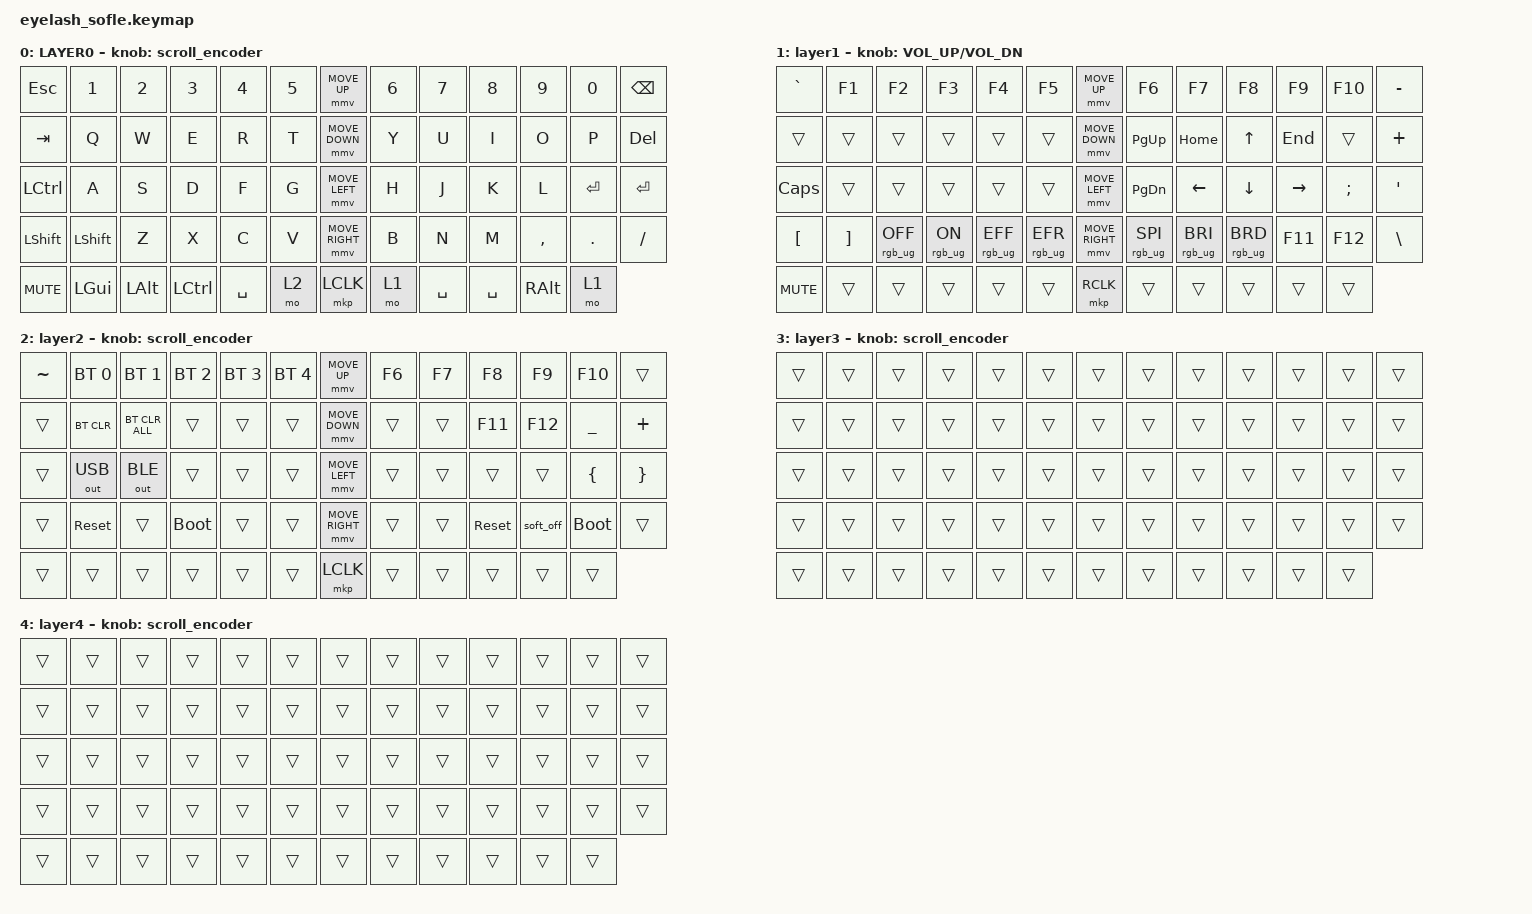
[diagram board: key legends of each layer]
#define ZMK_POINTING_DEFAULT_MOVE_VAL 1200  // 600
#define ZMK_POINTING_DEFAULT_SCRL_VAL 25   // 10

#include <input/processors.dtsi>
#include <zephyr/dt-bindings/input/input-event-codes.h>
#include <behaviors.dtsi>
#include <dt-bindings/zmk/bt.h>
#include <dt-bindings/zmk/keys.h>
#include <dt-bindings/zmk/outputs.h>
#include <dt-bindings/zmk/pointing.h>
#include <dt-bindings/zmk/rgb.h>

&mmv_input_listener { input-processors = <&zip_xy_scaler 2 1>; };

&msc_input_listener { input-processors = <&zip_scroll_scaler 2 1>; };

&msc {
    acceleration-exponent = <1>;      // 0
    time-to-max-speed-ms = <100>;       // 300
    delay-ms = <0>;                   // 0
};

&mmv {
    time-to-max-speed-ms = <500>;
    acceleration-exponent = <1>;
    trigger-period-ms = <16>;
};

&soft_off { hold-time-ms = <2000>; };

/ {
    scroll_encoder: scroll_encoder {
        compatible = "zmk,behavior-sensor-rotate";
        #sensor-binding-cells = <0>;
        bindings = <&msc SCRL_DOWN>, <&msc SCRL_UP>;

        tap-ms = <100>;
    };

    behaviors {
    };

    combos {
        compatible = "zmk,combos";

        softoff {
            bindings = <&soft_off>;
            key-positions = <14 28 40>;
        };
    };

    macros {
        SHIFT_MCLK: SHIFT_MCLK {
            compatible = "zmk,behavior-macro";
            #binding-cells = <0>;
            bindings =
                <&macro_press>,
                <&kp LEFT_SHIFT>,
                <&macro_press>,
                <&mkp MB3>,
                <&macro_pause_for_release>,
                <&macro_release>,
                <&kp LEFT_SHIFT &mkp MB3>;

            label = "SHIFT_MCLK";
        };
    };

    keymap {
        compatible = "zmk,keymap";

        layer0 {
            bindings = <
&kp ESC     &kp N1     &kp N2        &kp N3        &kp N4  &kp N5       &mmv MOVE_UP     &kp N6     &kp N7     &kp N8     &kp N9           &kp N0      &kp BACKSPACE
&kp TAB     &kp Q      &kp W         &kp E         &kp R   &kp T        &mmv MOVE_DOWN   &kp Y      &kp U      &kp I      &kp O            &kp P       &kp DELETE
&kp LCTRL   &kp A      &kp S         &kp D         &kp F   &kp G        &mmv MOVE_LEFT   &kp H      &kp J      &kp K      &kp L            &kp ENTER   &kp ENTER
&kp LSHFT   &kp LSHFT  &kp Z         &kp X         &kp C   &kp V        &mmv MOVE_RIGHT  &kp B      &kp N      &kp M      &kp COMMA        &kp DOT     &kp FSLH
&kp C_MUTE  &kp LEFT_GUI  &kp LEFT_ALT  &kp LCTRL  &kp SPACE  &mo 2     &mkp LCLK        &mo 1      &kp SPACE  &kp SPACE  &kp RALT         &mo 1
            >;

            sensor-bindings = <&scroll_encoder>;
            display-name = "LAYER0";
        };

        layer_1 {
            bindings = <
&kp GRAVE   &kp F1           &kp F2          &kp F3           &kp F4           &kp F5             &mmv MOVE_UP     &kp F6           &kp F7           &kp F8      &kp F9     &kp F10           &kp MINUS
&trans      &trans           &trans          &trans           &trans           &trans             &mmv MOVE_DOWN   &kp PG_UP        &kp HOME         &kp UP      &kp END    &trans            &kp PLUS
&kp CAPS    &trans           &trans          &trans           &trans           &trans             &mmv MOVE_LEFT   &kp PG_DN        &kp LEFT         &kp DOWN    &kp RIGHT  &kp SEMI          &kp APOS
&kp LBKT    &kp RBKT         &rgb_ug RGB_OFF  &rgb_ug RGB_ON  &rgb_ug RGB_EFF  &rgb_ug RGB_EFR  &mmv MOVE_RIGHT  &rgb_ug RGB_SPI  &rgb_ug RGB_BRI  &rgb_ug RGB_BRD  &kp F11  &kp F12   &kp BSLH
&kp C_MUTE  &trans           &trans          &trans           &trans           &trans             &mkp RCLK        &trans           &trans           &trans      &trans     &trans
            >;

            display-name = "layer1";
            sensor-bindings = <&inc_dec_kp C_VOLUME_UP C_VOL_DN>;
        };

        layer_2 {
            bindings = <
&kp TILDE  &bt BT_SEL 0  &bt BT_SEL 1    &bt BT_SEL 2  &bt BT_SEL 3  &bt BT_SEL 4    &mmv MOVE_UP     &kp F6  &kp F7  &kp F8      &kp F9     &kp F10      &trans
&trans     &bt BT_CLR    &bt BT_CLR_ALL  &trans        &trans        &trans          &mmv MOVE_DOWN   &trans  &trans  &kp F11     &kp F12    &kp UNDER    &kp PLUS
&trans     &out OUT_USB  &out OUT_BLE    &trans        &trans        &trans          &mmv MOVE_LEFT   &trans  &trans  &trans      &trans     &kp LBRC     &kp RBRC
&trans     &sys_reset    &trans          &bootloader   &trans        &trans          &mmv MOVE_RIGHT  &trans  &trans  &sys_reset  &soft_off  &bootloader  &trans
&trans     &trans        &trans          &trans        &trans        &trans          &mkp LCLK        &trans  &trans  &trans      &trans     &trans
            >;

            display-name = "layer2";
            sensor-bindings = <&scroll_encoder>;
        };

        layer_3 {
            bindings = <
&trans  &trans  &trans  &trans  &trans  &trans    &trans  &trans  &trans  &trans  &trans  &trans  &trans
&trans  &trans  &trans  &trans  &trans  &trans    &trans  &trans  &trans  &trans  &trans  &trans  &trans
&trans  &trans  &trans  &trans  &trans  &trans    &trans  &trans  &trans  &trans  &trans  &trans  &trans
&trans  &trans  &trans  &trans  &trans  &trans    &trans  &trans  &trans  &trans  &trans  &trans  &trans
&trans  &trans  &trans  &trans  &trans  &trans    &trans  &trans  &trans  &trans  &trans  &trans
            >;

            display-name = "layer3";
            sensor-bindings = <&scroll_encoder>;
        };

        layer_4 {
            bindings = <
&trans  &trans  &trans  &trans  &trans  &trans    &trans  &trans  &trans  &trans  &trans  &trans  &trans
&trans  &trans  &trans  &trans  &trans  &trans    &trans  &trans  &trans  &trans  &trans  &trans  &trans
&trans  &trans  &trans  &trans  &trans  &trans    &trans  &trans  &trans  &trans  &trans  &trans  &trans
&trans  &trans  &trans  &trans  &trans  &trans    &trans  &trans  &trans  &trans  &trans  &trans  &trans
&trans  &trans  &trans  &trans  &trans  &trans    &trans  &trans  &trans  &trans  &trans  &trans
            >;

            display-name = "layer4";
            sensor-bindings = <&scroll_encoder>;
        };
    };
};
